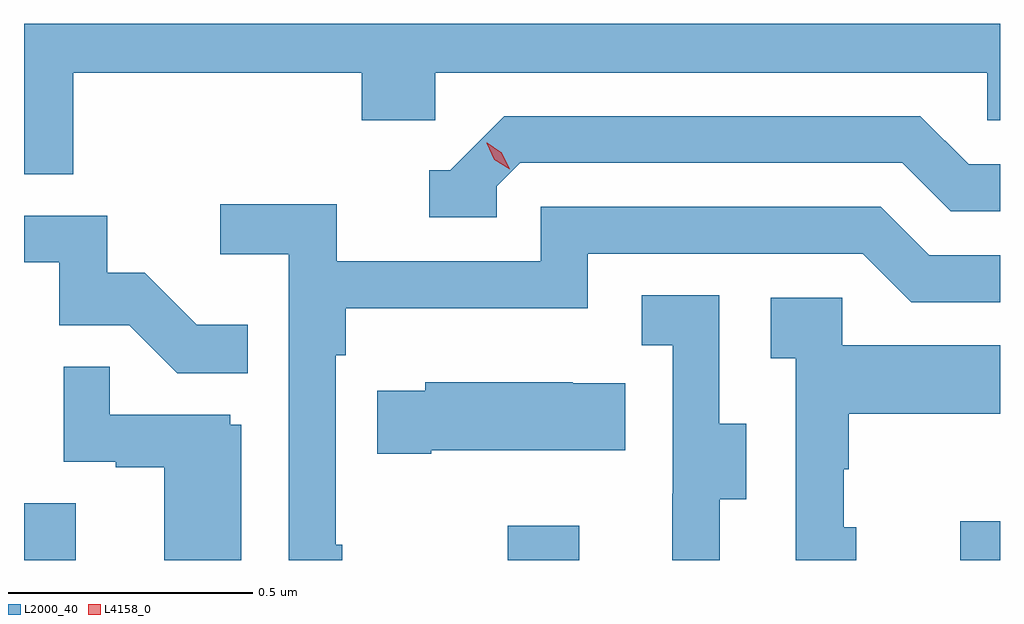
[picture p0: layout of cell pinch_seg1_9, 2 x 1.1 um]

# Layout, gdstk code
import gdstk
lib = gdstk.Library(unit=1e-6, precision=1e-09)
def R(c, l, rs):  # rectangles x0, y0, x1, y1
    for r in rs: c.add(gdstk.rectangle(r[:2], r[2:], *l))
def P(c, l, *ps):  # polygons
    for p in ps: c.add(gdstk.Polygon(p, *l))
L2000_40 = (2000, 40)
L4158_0 = (4158, 0)

pinch_seg1_9 = lib.new_cell('pinch_seg1_9')
R(pinch_seg1_9, L2000_40, [(1104.783,582.701,1104.889,582.818), (1105.774,582.701,1105.921,582.772), (1106.702,582.701,1106.783,582.781)])
P(pinch_seg1_9, L2000_40, [(1104.884,583.7),(1105.475,583.7),(1105.475,583.602),(1105.626,583.602),(1105.626,583.7),(1106.757,583.7),(1106.757,583.602),(1106.783,583.602),(1106.783,583.8),(1104.783,583.8),(1104.783,583.492),(1104.884,583.492)],
  [(1105.752,583.467),(1105.8,583.515),(1106.583,583.515),(1106.682,583.416),(1106.783,583.416),(1106.783,583.512),(1106.719,583.512),(1106.62,583.611),(1105.767,583.611),(1105.656,583.5),(1105.613,583.5),(1105.613,583.404),(1105.752,583.404)],
  [(1105.435,582.733),(1105.422,582.733),(1105.422,583.121),(1105.442,583.121),(1105.442,583.217),(1105.938,583.217),(1105.938,583.329),(1106.502,583.329),(1106.601,583.23),(1106.783,583.23),(1106.783,583.326),(1106.638,583.326),(1106.539,583.425),(1105.842,583.425),(1105.842,583.314),(1105.424,583.314),(1105.424,583.43),(1105.185,583.43),(1105.185,583.328),(1105.326,583.328),(1105.326,582.701),(1105.435,582.701)],
  [(1105.241,583.183),(1105.137,583.183),(1105.03,583.29),(1104.954,583.29),(1104.954,583.407),(1104.783,583.407),(1104.783,583.311),(1104.855,583.311),(1104.855,583.182),(1104.999,583.182),(1105.097,583.084),(1105.241,583.084)],
  [(1106.209,582.826),(1106.263,582.826),(1106.263,582.981),(1106.208,582.981),(1106.208,583.244),(1106.049,583.244),(1106.049,583.141),(1106.112,583.141),(1106.112,582.837),(1106.111,582.837),(1106.111,582.701),(1106.209,582.701)],
  [(1106.488,582.768),(1106.463,582.768),(1106.463,582.887),(1106.473,582.887),(1106.473,583.001),(1106.783,583.001),(1106.783,583.141),(1106.46,583.141),(1106.46,583.239),(1106.313,583.239),(1106.313,583.115),(1106.364,583.115),(1106.364,582.701),(1106.488,582.701)],
  [(1105.228,582.978),(1105.206,582.978),(1105.206,582.999),(1104.959,582.999),(1104.959,583.097),(1104.864,583.097),(1104.864,582.903),(1104.971,582.903),(1104.971,582.891),(1105.07,582.891),(1105.07,582.701),(1105.228,582.701)],
  [(1105.618,582.926),(1106.015,582.926),(1106.015,583.063),(1105.907,583.063),(1105.907,583.066),(1105.605,583.066),(1105.605,583.048),(1105.507,583.048),(1105.507,582.919),(1105.618,582.919)])
P(pinch_seg1_9, L4158_0, [(1105.778,583.502),(1105.747,583.522),(1105.731,583.555),(1105.731,583.556),(1105.732,583.556),(1105.762,583.536),(1105.778,583.503),(1105.778,583.502)])

lib.write_gds('pinch_seg1_9.gds')
